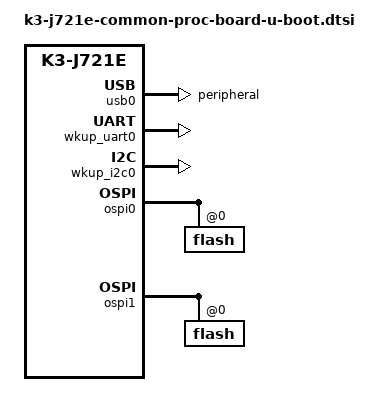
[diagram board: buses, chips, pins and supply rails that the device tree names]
// SPDX-License-Identifier: GPL-2.0
/*
 * Copyright (C) 2018 Texas Instruments Incorporated - https://www.ti.com/
 */

#include "k3-j721e-binman.dtsi"

&cbass_main {
	bootph-all;
};

&main_navss {
	bootph-all;
};

&cbass_mcu_wakeup {
	bootph-all;

	chipid@43000014 {
		bootph-all;
	};
};

&mcu_navss {
	bootph-all;
};

&mcu_ringacc {
	bootph-all;
};

&mcu_udmap {
	reg =	<0x0 0x285c0000 0x0 0x100>,
		<0x0 0x284c0000 0x0 0x4000>,
		<0x0 0x2a800000 0x0 0x40000>,
		<0x0 0x284a0000 0x0 0x4000>,
		<0x0 0x2aa00000 0x0 0x40000>,
		<0x0 0x28400000 0x0 0x2000>;
	reg-names = "gcfg", "rchan", "rchanrt", "tchan",
		    "tchanrt", "rflow";
	bootph-all;
};

&secure_proxy_main {
	bootph-all;
};

&dmsc {
	bootph-all;
	k3_sysreset: sysreset-controller {
		compatible = "ti,sci-sysreset";
		bootph-all;
	};
};

&k3_pds {
	bootph-all;
};

&k3_clks {
	bootph-all;
};

&k3_reset {
	bootph-all;
};

&wkup_pmx0 {
	bootph-all;
};

&main_pmx0 {
	bootph-all;
};

&main_uart0 {
	bootph-all;
};

&mcu_uart0 {
	bootph-all;
};

&main_sdhci0 {
	bootph-all;
};

&main_sdhci1 {
	bootph-all;
};

&main_uart0_pins_default {
	bootph-all;
};

&serdes_ln_ctrl {
	u-boot,mux-autoprobe;
};

&usb_serdes_mux {
	u-boot,mux-autoprobe;
};

&main_usbss0_pins_default {
	bootph-all;
};

&usbss0 {
	bootph-all;
};

&usb0 {
	dr_mode = "peripheral";
	bootph-all;
};

&main_mmc1_pins_default {
	bootph-all;
};

&wkup_i2c0_pins_default {
	bootph-all;
};

&wkup_uart0 {
	bootph-all;
	status = "okay";
};

&wkup_i2c0 {
	bootph-all;
	status = "okay";
};

&main_i2c0 {
	bootph-all;
};

&main_i2c0_pins_default {
	bootph-all;
};

&main_esm {
	bootph-all;
};

&exp2 {
	bootph-all;
};

&mcu_fss0_ospi0_pins_default {
	bootph-all;
};

&fss {
	bootph-all;
};

&wkup_gpio0 {
	bootph-all;
};

&ospi0 {
	bootph-all;

	flash@0 {
		bootph-all;
	};
};

&ospi1 {
	bootph-all;

	flash@0 {
		bootph-all;
	};
};

&mcu_fss0_hpb0_pins_default {
	bootph-all;
};

&wkup_gpio_pins_default {
	bootph-all;
};

&mcu_fss0_ospi1_pins_default {
	bootph-all;
};
